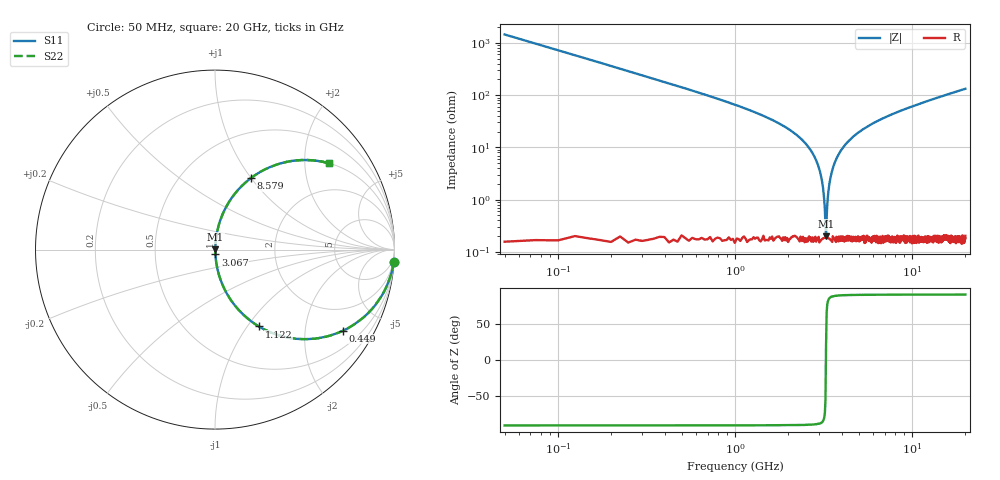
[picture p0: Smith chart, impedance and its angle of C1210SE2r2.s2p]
! AVX Thin Film Operation		Date: April 2012
! Description: Accu-P® Series, Thin Film, SMD, RF Capacitor
! Part Number: 12101J2R2QBTTR
!	100	MHz	-	20.05	GHz
!	Serial	Measurements
#	MHZ	S	MA	R	50
!	S11	S21	S12	S22
!	dB	Phase	dB	Phase	dB	Phase	dB	Phase
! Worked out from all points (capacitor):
!   801 points, 50 MHz to 20 GHz, reference 50 ohm
!   read as one part in series: C = 2.2 pF near 149.8 MHz
!   lowest |Z| = 200 mohm at 3.267 GHz (marker M1)
!   series resonance near 3.262 GHz, so ESL is about 1.1 nH
!   S11 on the Smith chart (normalised r, x): 50 MHz: 1, -29; 449 MHz: 1.00, -3.16; 1.122 GHz: 1.00, -1.14; 3.067 GHz: 1.00, -0.05; 8.579 GHz: 1.00, +1.00; 20 GHz: 1.01, +2.65
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50  0.998 -4.0  0.069 86.0  0.069 86.0  0.998 -4.0
224.563  0.954 -17.3  0.298 72.6  0.298 72.6  0.954 -17.3
449  0.845 -32.3  0.534 57.6  0.534 57.6  0.845 -32.3
1122.313  0.493 -60.3  0.868 29.6  0.868 29.6  0.493 -60.3
1695.875  0.297 -72.4  0.953 17.3  0.953 17.3  0.297 -72.4
2493.875  0.119 -82.3  0.991 6.9  0.991 6.9  0.119 -82.3
2843  0.061 -84.8  0.996 3.5  0.996 3.5  0.061 -84.8
3067.438  0.027 -84.7  0.998 1.6  0.998 1.6  0.027 -84.7
3192.125  0.00976 -79.0  0.998 0.6  0.998 0.6  0.00976 -79.0
3266.938  0.001886 20.4  0.998 -0.0  0.998 -0.0  0.001886 20.4
3341.75  0.011 80.0  0.998 -0.6  0.998 -0.6  0.011 80.0
3391.625  0.017 83.2  0.998 -1.0  0.998 -1.0  0.017 83.2
3491.375  0.03 84.9  0.998 -1.7  0.998 -1.7  0.03 84.9
3665.938  0.052 85.1  0.997 -3.0  0.997 -3.0  0.052 85.1
4239.5  0.117 82.4  0.991 -6.7  0.991 -6.7  0.117 82.4
5237  0.213 77.3  0.975 -12.3  0.975 -12.3  0.213 77.3
6708.313  0.328 70.5  0.943 -19.2  0.943 -19.2  0.328 70.5
8578.625  0.446 63.3  0.894 -26.5  0.894 -26.5  0.446 63.3
10025  0.52 58.5  0.853 -31.3  0.853 -31.3  0.52 58.5
13366.62  0.649 49.4  0.759 -40.5  0.759 -40.5  0.649 49.4
16683.31  0.737 42.5  0.675 -47.4  0.675 -47.4  0.737 42.5
20000  0.797 37.0  0.602 -52.9  0.602 -52.9  0.797 37.0
